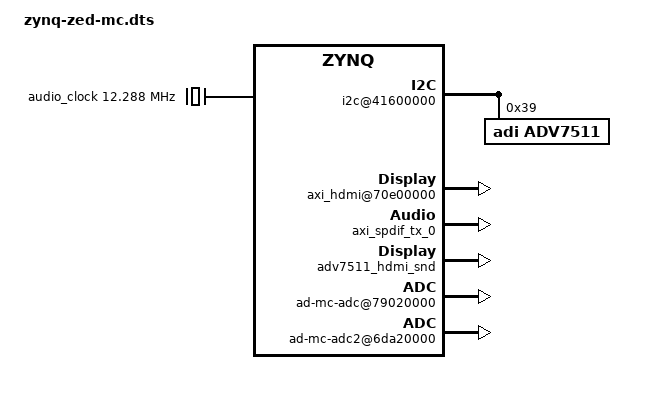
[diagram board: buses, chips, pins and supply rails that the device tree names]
/dts-v1/;

/include/ "zynq-zed.dtsi"

/ {
	fpga_axi: fpga-axi@0 {
		compatible = "simple-bus";
		#address-cells = <0x1>;
		#size-cells = <0x1>;
		ranges;

		i2c@41600000 {
			compatible = "xlnx,axi-iic-1.01.b", "xlnx,xps-iic-2.00.a";
			interrupt-parent = <&gic>;
			interrupts = <0 58 0x4>;
			reg = <0x41600000 0x10000>;

			#size-cells = <0>;
			#address-cells = <1>;

			adv7511: adv7511@39 {
				compatible = "adi,adv7511";
				reg = <0x39>;

				adi,input-style = <0x02>;
				adi,input-id = <0x01>;
				adi,input-color-depth = <0x3>;
				adi,sync-pulse = <0x03>;
				adi,bit-justification = <0x01>;
				adi,up-conversion = <0x00>;
				adi,timing-generation-sequence = <0x00>;
				adi,vsync-polarity = <0x02>;
				adi,hsync-polarity = <0x02>;
				adi,tdms-clock-inversion;
				adi,clock-delay = <0x03>;
			};
		};

		axi_vdma_0: axivdma@43000000 {
			#address-cells = <1>;
			#size-cells = <1>;
			#dma-cells = <1>;
			compatible = "xlnx,axi-vdma";
			reg = <0x43000000 0x1000>;
			xlnx,include-sg = <0x0>;
			xlnx,num-fstores = <0x3>;
			dma-channel@7e200000 {
				compatible = "xlnx,axi-vdma-mm2s-channel";
				interrupts = <0 59 0x4>;
				xlnx,datawidth = <0x40>;
				xlnx,genlock-mode = <0x0>;
				xlnx,include-dre = <0x0>;
			};
		};

		fpga_clock: fpga_clock {
			compatible = "fixed-clock";
			#clock-cells = <0>;
			clock-frequency = <200000000>;
		};

		hdmi_clock: axi-clkgen@79000000 {
			compatible = "adi,axi-clkgen-1.00.a";
			reg = <0x79000000 0x10000>;
			#clock-cells = <0>;
			clocks = <&fpga_clock>;
		};

		axi_hdmi@70e00000 {
			compatible = "adi,axi-hdmi-1.00.a";
			reg = <0x70e00000 0x10000>;
			encoder-slave = <&adv7511>;
			dmas = <&axi_vdma_0 0>;
			dma-names = "video";
			clocks = <&hdmi_clock>;
		};

		audio_clock: audio_clock {
			compatible = "fixed-clock";
			#clock-cells = <0>;
			clock-frequency = <12288000>;
		};

		axi_spdif_tx_0: axi-spdif-tx@0x75c00000 {
			compatible = "adi,axi-spdif-tx-1.00.a";
			reg = <0x75c00000 0x1000>;
			dmas = <&ps7_dma 0>;
			dma-names = "tx";
			clocks = <&fpga_clock &audio_clock>;
			clock-names = "axi", "spdif";
		};

		adv7511_hdmi_snd: adv7511_hdmi_snd {
			compatible = "adv7511-hdmi-snd";
			audio-codec = <&adv7511>;
			cpu-dai = <&axi_spdif_tx_0>;
		};

		axi_dma_0: axidma@40400000 {
			#address-cells = <1>;
			#size-cells = <1>;
			#dma-cells = <1>;
			compatible = "xlnx,axi-dma";
			reg = <0x40400000 0x10000>;
			dma-channel@40400000 {
				compatible = "xlnx,axi-dma-s2mm-channel";
				interrupts = <0x0 0x34 0x4>;
				xlnx,datawidth = <0x40>;
				xlnx,sg-length-width = <0x17>;
				xlnx,include-dre = <0x0>;
			};
		};

		ad-mc-adc@79020000 {
			compatible = "xlnx,axi-ad-mc-adc-1.00.a";
			reg = <0x79020000 0x10000>;
			dmas = <&axi_dma_0 0>;
			dma-names = "ad-mc-adc-dma";
		};

		axi_dma_1: axidma1@40440000 {
			#address-cells = <1>;
			#size-cells = <1>;
			#dma-cells = <1>;
			compatible = "xlnx,axi-dma";
			reg = <0x40440000 0x10000>;
			dma-channel@40440000 {
				compatible = "xlnx,axi-dma-s2mm-channel";
				interrupts = <0x0 0x23 0x4>;
				xlnx,datawidth = <0x20>;
				xlnx,sg-length-width = <0x17>;
				xlnx,include-dre = <0x0>;
			};
		};

		ad-mc-torque-ctrl@6da00000 {
			compatible = "xlnx,axi-ad-mc-torque-ctrl-1.00.a";
			reg = <0x6da00000 0x10000>;
			dmas = <&axi_dma_1 0>;
			dma-names = "ad-mc-torque-ctrl-dma";
		};

		axi_dma_2: axidma2@40480000 {
			#address-cells = <1>;
			#size-cells = <1>;
			#dma-cells = <1>;
			compatible = "xlnx,axi-dma";
			reg = <0x40480000 0x10000>;
			dma-channel@40480000 {
				compatible = "xlnx,axi-dma-s2mm-channel";
				interrupts = <0x0 0x21 0x4>;
				xlnx,datawidth = <0x20>;
				xlnx,sg-length-width = <0x17>;
				xlnx,include-dre = <0x0>;
			};
		};

		ad-mc-speed@75c20000 {
			compatible = "xlnx,axi-ad-mc-speed-1.00.a";
			reg = <0x75c20000 0x10000>;
			dmas = <&axi_dma_2 0>;
			dma-names = "ad-mc-speed-dma";
		};

		axi_dma_3: axidma3@404C0000 {
			#address-cells = <1>;
			#size-cells = <1>;
			#dma-cells = <1>;
			compatible = "xlnx,axi-dma";
			reg = <0x404C0000 0x10000>;
			dma-channel@404C0000 {
				compatible = "xlnx,axi-dma-s2mm-channel";
				interrupts = <0x0 0x1f 0x4>;
				xlnx,datawidth = <0x40>;
				xlnx,sg-length-width = <0x17>;
				xlnx,include-dre = <0x0>;
			};
		};

		ad-mc-adc2@6da20000 {
			compatible = "xlnx,axi-ad-mc-adc-1.00.a";
			reg = <0x6da20000 0x10000>;
			dmas = <&axi_dma_3 0>;
			dma-names = "ad-mc-adc-dma";
		};
	};
};
